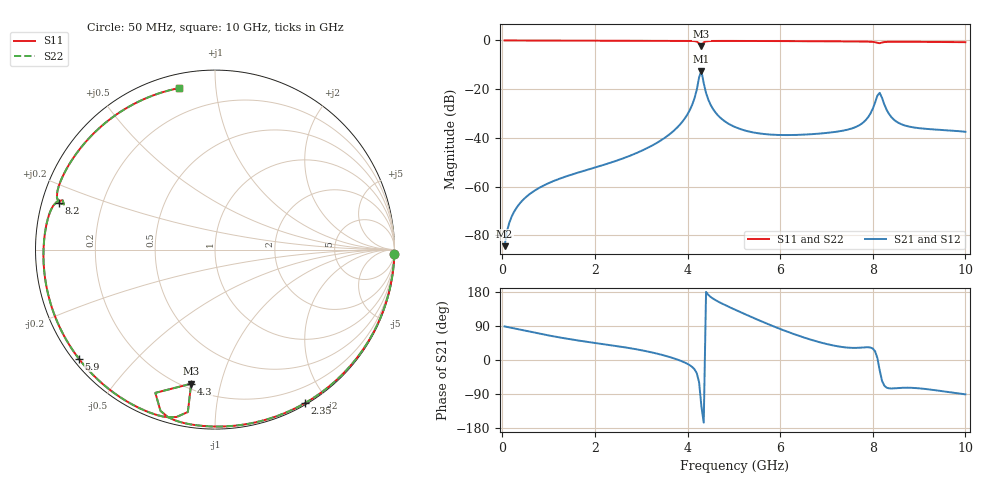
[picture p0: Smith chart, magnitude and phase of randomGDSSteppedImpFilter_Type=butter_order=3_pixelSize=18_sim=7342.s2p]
! freq	dB(S11)	phase(S11)	dB(S12)	phase(S12)
!  dB(S21)	phase(S21)	dB(S22)	phase(S22)
!S-par simulation data
#  GHz  S  DB  R 50
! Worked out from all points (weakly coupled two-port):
!   200 points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, 50 MHz to 10 GHz, reference 50 ohm
!   highest |S21| = -12.58 dB at 4.3 GHz (marker M1); lowest = -84.4 dB at 50 MHz (marker M2)
!   lowest |S11| = -2.4 dB at 4.3 GHz (marker M3), VSWR 7.29, Z = 11.5 - j40.6 ohm
!   |S11| at or under -10 dB: nowhere
!   |S22| runs from -2.4 to 0.0 dB; largest |S21 - S12| = 0
!   S11 on the Smith chart (normalised r, x): 50 MHz: 0, -87; 2.35 GHz: 0.02, -1.74; 4.3 GHz: 0.23, -0.81; 5.9 GHz: 0.02, -0.35; 8.2 GHz: 0.05, +0.15; 10 GHz: 0.07, +0.80
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0.05  -0.00 -1.3  -84.42 88.6  -84.42 88.6  -0.00 -1.3
0.25  -0.01 -6.5  -70.45 83.4  -70.45 83.4  -0.01 -6.5
0.55  -0.02 -14.3  -63.66 75.7  -63.66 75.7  -0.02 -14.3
1.75  -0.06 -44.9  -53.57 49.4  -53.57 49.4  -0.06 -44.9
2.35  -0.08 -59.8  -50.08 38.8  -50.08 38.8  -0.08 -59.8
3.4  -0.11 -85.2  -41.31 15.1  -41.31 15.1  -0.11 -85.2
4  -0.16 -100.4  -30.27 -10.3  -30.27 -10.3  -0.16 -100.4
4.15  -0.28 -105.8  -23.76 -24.5  -23.76 -24.5  -0.28 -105.8
4.25  -1.26 -112.6  -15.08 -59.2  -15.08 -59.2  -1.26 -112.6
4.3  -2.40 -100.1  -12.58 -123.0  -12.58 -123.0  -2.40 -100.1
4.4  -0.38 -103.0  -21.57 179.7  -21.57 179.7  -0.38 -103.0
4.55  -0.21 -108.8  -28.12 162.0  -28.12 162.0  -0.21 -108.8
5.05  -0.20 -121.6  -35.70 131.4  -35.70 131.4  -0.20 -121.6
5.9  -0.25 -141.3  -38.74 86.7  -38.74 86.7  -0.25 -141.3
6.7  -0.31 -160.3  -38.43 52.3  -38.43 52.3  -0.31 -160.3
7.7  -0.43 174.0  -34.88 32.3  -34.88 32.3  -0.43 174.0
7.95  -0.53 166.6  -29.98 33.0  -29.98 33.0  -0.53 166.6
8.1  -0.98 162.1  -22.62 5.0  -22.62 5.0  -0.98 162.1
8.2  -0.84 163.4  -23.58 -55.1  -23.58 -55.1  -0.84 163.4
8.35  -0.54 158.1  -30.15 -74.7  -30.15 -74.7  -0.54 158.1
8.75  -0.54 145.4  -35.19 -73.2  -35.19 -73.2  -0.54 145.4
10  -0.71 102.5  -37.48 -90.7  -37.48 -90.7  -0.71 102.5
